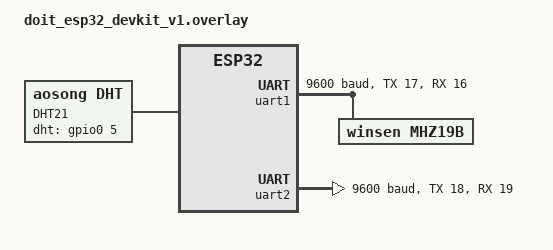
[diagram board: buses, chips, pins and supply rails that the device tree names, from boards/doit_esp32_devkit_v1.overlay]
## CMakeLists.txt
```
cmake_minimum_required(VERSION 3.20.0)
find_package(Zephyr REQUIRED HINTS $ENV{ZEPHYR_BASE})
project(weather_station)

set(INCLUDE_LIB ${CMAKE_SOURCE_DIR}/include)

include_directories(${INCLUDE_LIB})

set (SOURCES
        ${INCLUDE_LIB}/defines.h
        include/wifi.h
        src/wifi.c
        src/main.c
)

target_sources(app PRIVATE ${SOURCES})
```

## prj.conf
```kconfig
# Wi-Fi Configuration
CONFIG_WIFI=y
CONFIG_WIFI_NM=y
CONFIG_WIFI_USAGE_MODE_STA_AP=y

# Network Configuration
CONFIG_NET_CONFIG_AUTO_INIT=n
CONFIG_NET_CONNECTION_MANAGER=y
CONFIG_NET_DHCPV4=y
CONFIG_NET_DHCPV4_SERVER=y
CONFIG_NET_IF_MAX_IPV4_COUNT=2
CONFIG_NET_IF_MAX_IPV6_COUNT=2
CONFIG_NET_IPV4=y
CONFIG_NET_L2_ETHERNET=y
CONFIG_NET_L2_WIFI_MGMT=y
CONFIG_NET_MGMT=y
CONFIG_NET_MGMT_EVENT=y
CONFIG_NET_MGMT_EVENT_INFO=y
CONFIG_NET_MGMT_EVENT_QUEUE_SIZE=10
CONFIG_NET_MGMT_EVENT_STACK_SIZE=4096
CONFIG_NET_PKT_RX_COUNT=16
CONFIG_NET_PKT_TX_COUNT=16
CONFIG_NET_SOCKETS_SERVICE_STACK_SIZE=4096
CONFIG_NET_TCP=y
CONFIG_NET_UDP=y
CONFIG_NETWORKING=y

# LOG Configuration
CONFIG_NET_LOG=y
CONFIG_NET_DHCPV4_SERVER_LOG_LEVEL_DBG=y

CONFIG_FLASH=y

CONFIG_NVS=y
CONFIG_LOG=y
CONFIG_LOG_MODE_IMMEDIATE=y
CONFIG_NVS_LOG_LEVEL_DBG=y
CONFIG_REBOOT=y
CONFIG_MPU_ALLOW_FLASH_WRITE=y
CONFIG_MAIN_STACK_SIZE=2048
```

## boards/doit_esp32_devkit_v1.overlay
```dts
/delete-node/ &storage_partition;

/ {
	chosen {
		zephyr,flash-controller = &flash0;
	};
};

&flash0 {
	partitions {
		/* Set 8Kb of storage at the end of the 1Mb of flash */
		storage_partition: partition@fe000 {
			label = "storage";
			reg = <0x000fe000 DT_SIZE_K(8)>;
		};
	};
};

/ {
    dht21: dht21 {
    compatible = "aosong,dht";
    label = "DHT21";
    dht-gpios = <&gpio0 5 (GPIO_PULL_UP | GPIO_OPEN_DRAIN)>;
    dht-device-type = <DHT_TYPE_AM2301>;
    status = "okay";
    };
};



&uart1 {
    status = "okay";
    current-speed = <9600>;
    tx-pin = <17>;   /* TX ESP32 -> RX датчика MH-Z19B */
    rx-pin = <16>;   /* RX ESP32 <- TX датчика MH-Z19B */

    mhz19b {
        compatible = "winsen,mhz19b";
        label = "MHZ19B";
        /* maximum-range = <10000>; */
        /* abc-on; */
    };
};

&uart2 {
    status = "okay";
    current-speed = <9600>;
    tx-pin = <18>;
    rx-pin = <19>;
    /* Если нужен пин для управления RE/DE RS-485, можно добавить отдельный gpio */
};
```

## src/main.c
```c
/*
 * Copyright (c) 2024 Muhammad Haziq
 *
 * SPDX-License-Identifier: Apache-2.0
 */

#include <zephyr/kernel.h>
#include <zephyr/logging/log.h>
#include <zephyr/net/wifi_mgmt.h>
#include <zephyr/net/dhcpv4_server.h>

LOG_MODULE_REGISTER(MAIN);

int main(void)
{
	k_sleep(K_SECONDS(5));

	return 0;
}
```

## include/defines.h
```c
#ifndef WEATHER_DEFINES_H
#define WEATHER_DEFINES_H

#define WIFI_STACK_SIZE 500
#define WIFI_PRIORYTIY 5

#endif
```

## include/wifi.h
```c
#ifndef WEATHER_WIFI_H
#define WEATHER_WIFI_H

#include "defines.h"

#include <zephyr/drivers/flash.h>
#include <zephyr/storage/flash_map.h>
#include <zephyr/kvss/nvs.h>

#include <zephyr/kernel.h>
#include <zephyr/logging/log.h>
#include <zephyr/net/wifi_mgmt.h>
#include <zephyr/net/dhcpv4_server.h>

#include <stdio.h>
#include <string.h>

#endif
```

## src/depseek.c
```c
#include <zephyr/kernel.h>
#include <zephyr/device.h>
#include <zephyr/drivers/sensor.h>
#include <zephyr/drivers/gpio.h>
#include <zephyr/drivers/uart.h>
#include <zephyr/net/net_if.h>
#include <zephyr/net/wifi_mgmt.h>
#include <zephyr/net/http/client.h>
#include <zephyr/data/json.h>
#include <zephyr/logging/log.h>

#include <stdio.h>
#include <string.h>

LOG_MODULE_REGISTER(main, LOG_LEVEL_INF);

// === Настройки WiFi ===
#define WIFI_SSID     "YourSSID"
#define WIFI_PSK      "YourPassword"

// === Адрес локального сервера ===
#define SERVER_HOST   "192.168.1.100"   // IP вашего сервера
#define SERVER_PORT   8080               // порт
#define WEATHER_PATH   "/weather.json"    // путь к файлу с погодой

// === Пины устройств (если не заданы в overlay) ===
// Реле на GPIO4
#define RELAY_NODE DT_ALIAS(relay)       // можно задать алиас в overlay
static const struct gpio_dt_spec relay = GPIO_DT_SPEC_GET_OR(RELAY_NODE, gpios, {0});

// Датчики
static const struct device *const dht21 = DEVICE_DT_GET_ANY(dht);
static const struct device *const mhz19b = DEVICE_DT_GET_ANY(winsen_mhz19b);
static const struct device *const uart_display = DEVICE_DT_GET(DT_NODELABEL(uart2));

// === Структура для хранения данных с сервера ===
struct weather_data {
    float temp;
    float pressure;
    int humidity;
    // ... добавьте свои поля
};

// === Глобальные переменные ===
static struct weather_data current_weather;
static K_SEM_DEFINE(weather_ready_sem, 0, 1);   // семафор для сигнала о новых данных
static bool wifi_connected = false;

// === Прототипы функций ===
static void wifi_connect(void);
static void http_fetch_weather(void);
static void parse_weather_json(const char *json_str);
static void read_local_sensors(float *temp, float *hum, uint16_t *co2);
static void update_display(void);

// === Поток для периодического опроса сервера (раз в 30 минут) ===
void weather_thread(void *, void *, void *)
{
    while (1) {
        LOG_INF("Fetching weather from server...");
        http_fetch_weather();
        k_sleep(K_MINUTES(30));
    }
}

K_THREAD_DEFINE(weather_tid, 4096, weather_thread, NULL, NULL, NULL, 7, 0, 0);

// === Поток для локального опроса датчиков и вывода на дисплей (раз в минуту) ===
void sensor_thread(void *, void *, void *)
{
    while (1) {
        // Читаем локальные датчики
        float temp_local = 0, hum_local = 0;
        uint16_t co2_local = 0;
        read_local_sensors(&temp_local, &hum_local, &co2_local);

        // Если есть свежие данные с сервера, используем их, иначе пропускаем
        if (k_sem_take(&weather_ready_sem, K_NO_WAIT) == 0) {
            LOG_INF("New weather data: T=%.1f, P=%.1f, H=%d",
                    current_weather.temp, current_weather.pressure, current_weather.humidity);
        }

        // Формируем строку для отправки на индикатор
        char display_buf[128];
        snprintf(display_buf, sizeof(display_buf),
                 "Local: T=%.1f H=%.1f CO2=%d  Yandex: T=%.1f H=%d\r\n",
                 temp_local, hum_local, co2_local,
                 current_weather.temp, current_weather.humidity);

        // Отправляем в UART (RS-485)
        for (int i = 0; i < strlen(display_buf); i++) {
            uart_poll_out(uart_display, display_buf[i]);
        }

        k_sleep(K_MINUTES(1));
    }
}

K_THREAD_DEFINE(sensor_tid, 2048, sensor_thread, NULL, NULL, NULL, 5, 0, 0);

// === Инициализация ===
void main(void)
{
    LOG_INF("Weather Station starting...");

    // Инициализация реле (выключено)
    if (!device_is_ready(relay.port)) {
        LOG_ERR("Relay GPIO port not ready");
    } else {
        gpio_pin_configure_dt(&relay, GPIO_OUTPUT_INACTIVE);
        LOG_INF("Relay initialized");
    }

    // Инициализация датчиков
    if (dht21 && device_is_ready(dht21)) {
        LOG_INF("DHT21 sensor ready");
    } else {
        LOG_ERR("DHT21 sensor not ready");
    }

    if (mhz19b && device_is_ready(mhz19b)) {
        LOG_INF("MH-Z19B sensor ready");
    } else {
        LOG_ERR("MH-Z19B sensor not ready");
    }

    // Подключение к WiFi
    wifi_connect();

    // Потоки запустятся автоматически после определения
}

// === Подключение к WiFi (синхронно) ===
static void wifi_connect(void)
{
    struct net_if *iface = net_if_get_default();
    if (!iface) {
        LOG_ERR("No network interface");
        return;
    }

    struct wifi_connect_req_params params = {
        .ssid = WIFI_SSID,
        .psk = WIFI_PSK,
        .ssid_length = strlen(WIFI_SSID),
        .psk_length = strlen(WIFI_PSK),
        .channel = WIFI_CHANNEL_ANY,
        .security = WIFI_SECURITY_TYPE_PSK,
    };

    LOG_INF("Connecting to WiFi...");
    int rc = net_mgmt(NET_REQUEST_WIFI_CONNECT, iface, &params, sizeof(params));
    if (rc) {
        LOG_ERR("WiFi connection failed: %d", rc);
        return;
    }
    wifi_connected = true;
    LOG_INF("WiFi connected");
}

// === HTTP GET запрос к серверу ===
static void http_fetch_weather(void)
{
    if (!wifi_connected) {
        LOG_ERR("WiFi not connected");
        return;
    }

    struct http_request req;
    memset(&req, 0, sizeof(req));

    req.method = HTTP_GET;
    req.url = WEATHER_PATH;
    req.host = SERVER_HOST;
    req.port = SERVER_PORT;
    req.protocol = "HTTP/1.1";
    req.response = http_response_cb;  // колбэк для обработки ответа
    req.recv_buf = NULL;               // можно использовать статический буфер

    int rc = http_client_req(&req);
    if (rc < 0) {
        LOG_ERR("HTTP request failed: %d", rc);
    }
}

// === Колбэк для обработки ответа сервера ===
static void http_response_cb(struct http_response *rsp, enum http_final_call final_data, void *user_data)
{
    if (final_data == HTTP_DATA_FINAL) {
        if (rsp->http_status_code == 200) {
            LOG_INF("HTTP OK, length: %zd", rsp->content_length);
            // Здесь нужно разобрать JSON, который лежит в rsp->recv_buf или в rsp->body_fragments
            // Для простоты будем считать, что весь ответ помещается в recv_buf.
            // На практике используйте http_response_parse_body() или сохраняйте фрагменты.
            // Предположим, что ответ получен целиком:
            if (rsp->recv_buf_len > 0) {
                parse_weather_json(rsp->recv_buf);
            }
        } else {
            LOG_ERR("HTTP error: %d", rsp->http_status_code);
        }
    }
}

// === Парсинг JSON с помощью cJSON ===
static void parse_weather_json(const char *json_str)
{
    // Пример парсинга, адаптируйте под свой формат
    cJSON *root = cJSON_Parse(json_str);
    if (!root) {
        LOG_ERR("JSON parse error");
        return;
    }

    cJSON *temp = cJSON_GetObjectItem(root, "temp");
    cJSON *pressure = cJSON_GetObjectItem(root, "pressure");
    cJSON *humidity = cJSON_GetObjectItem(root, "humidity");

    if (cJSON_IsNumber(temp)) {
        current_weather.temp = temp->valuedouble;
    }
    if (cJSON_IsNumber(pressure)) {
        current_weather.pressure = pressure->valuedouble;
    }
    if (cJSON_IsNumber(humidity)) {
        current_weather.humidity = humidity->valueint;
    }

    cJSON_Delete(root);

    // Сигнализируем, что данные обновлены
    k_sem_give(&weather_ready_sem);
}

// === Чтение локальных датчиков ===
static void read_local_sensors(float *temp, float *hum, uint16_t *co2)
{
    if (dht21) {
        sensor_sample_fetch(dht21);
        struct sensor_value val;
        sensor_channel_get(dht21, SENSOR_CHAN_AMBIENT_TEMP, &val);
        *temp = sensor_value_to_double(&val);
        sensor_channel_get(dht21, SENSOR_CHAN_HUMIDITY, &val);
        *hum = sensor_value_to_double(&val);
    }

    if (mhz19b) {
        sensor_sample_fetch(mhz19b);
        struct sensor_value val;
        sensor_channel_get(mhz19b, SENSOR_CHAN_CO2, &val);
        *co2 = val.val1;  // для MH-Z19B CO2 возвращается в val1 как целое (ppm)
    }
}
```

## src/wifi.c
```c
#include "wifi.h"

LOG_MODULE_REGISTER(WIFI);


#define MACSTR "%02X:%02X:%02X:%02X:%02X:%02X"
#define WIFI_STACK_SIZE 500
#define WIFI_PRIORITY 5

static struct nvs_fs fs;

#define NVS_PARTITION		storage_partition
#define NVS_PARTITION_DEVICE	FIXED_PARTITION_DEVICE(NVS_PARTITION)
#define NVS_PARTITION_OFFSET	FIXED_PARTITION_OFFSET(NVS_PARTITION)

#define NVS_NAMESPACE_WIFI      1       // Идентификатор для наших данных
#define NVS_KEY_SSID            1       // Ключ для SSID
#define NVS_KEY_PASSWORD        2       // Ключ для пароля

#define NET_EVENT_WIFI_MASK                                                                        \
	(NET_EVENT_WIFI_CONNECT_RESULT | NET_EVENT_WIFI_DISCONNECT_RESULT |                        \
	 NET_EVENT_WIFI_AP_ENABLE_RESULT | NET_EVENT_WIFI_AP_DISABLE_RESULT |                      \
	 NET_EVENT_WIFI_AP_STA_CONNECTED | NET_EVENT_WIFI_AP_STA_DISCONNECTED)

static struct net_if *ap_iface;
static struct net_if *sta_iface;

static struct wifi_connect_req_params ap_config;
static struct wifi_connect_req_params sta_config;

static struct net_mgmt_event_callback cb;

/* Check necessary definitions */

BUILD_ASSERT(sizeof(CONFIG_WIFI_SAMPLE_AP_SSID) > 1,
	     "CONFIG_WIFI_SAMPLE_AP_SSID is empty. Please set it in conf file.");

BUILD_ASSERT(sizeof(CONFIG_WIFI_SAMPLE_SSID) > 1,
	     "CONFIG_WIFI_SAMPLE_SSID is empty. Please set it in conf file.");

#if WIFI_SAMPLE_DHCPV4_START
BUILD_ASSERT(sizeof(CONFIG_WIFI_SAMPLE_AP_IP_ADDRESS) > 1,
	     "CONFIG_WIFI_SAMPLE_AP_IP_ADDRESS is empty. Please set it in conf file.");

BUILD_ASSERT(sizeof(CONFIG_WIFI_SAMPLE_AP_NETMASK) > 1,
	     "CONFIG_WIFI_SAMPLE_AP_NETMASK is empty. Please set it in conf file.");

#endif

static void wifi_event_handler(struct net_mgmt_event_callback *cb, uint64_t mgmt_event,
			       struct net_if *iface)
{
	switch (mgmt_event) {
	case NET_EVENT_WIFI_CONNECT_RESULT: {
		LOG_INF("Connected to %s", CONFIG_WIFI_SAMPLE_SSID);
		break;
	}
	case NET_EVENT_WIFI_DISCONNECT_RESULT: {
		LOG_INF("Disconnected from %s", CONFIG_WIFI_SAMPLE_SSID);
		break;
	}
	case NET_EVENT_WIFI_AP_ENABLE_RESULT: {
		LOG_INF("AP Mode is enabled. Waiting for station to connect");
		break;
	}
	case NET_EVENT_WIFI_AP_DISABLE_RESULT: {
		LOG_INF("AP Mode is disabled.");
		break;
	}
	case NET_EVENT_WIFI_AP_STA_CONNECTED: {
		struct wifi_ap_sta_info *sta_info = (struct wifi_ap_sta_info *)cb->info;

		LOG_INF("station: " MACSTR " joined ", sta_info->mac[0], sta_info->mac[1],
			sta_info->mac[2], sta_info->mac[3], sta_info->mac[4], sta_info->mac[5]);
		break;
	}
	case NET_EVENT_WIFI_AP_STA_DISCONNECTED: {
		struct wifi_ap_sta_info *sta_info = (struct wifi_ap_sta_info *)cb->info;

		LOG_INF("station: " MACSTR " leave ", sta_info->mac[0], sta_info->mac[1],
			sta_info->mac[2], sta_info->mac[3], sta_info->mac[4], sta_info->mac[5]);
		break;
	}
	default:
		break;
	}
}

#if CONFIG_WIFI_SAMPLE_DHCPV4_START
static void enable_dhcpv4_server(void)
{
	static struct net_in_addr addr;
	static struct net_in_addr netmaskAddr;

	if (net_addr_pton(NET_AF_INET, CONFIG_WIFI_SAMPLE_AP_IP_ADDRESS, &addr)) {
		LOG_ERR("Invalid address: %s", CONFIG_WIFI_SAMPLE_AP_IP_ADDRESS);
		return;
	}

	if (net_addr_pton(NET_AF_INET, CONFIG_WIFI_SAMPLE_AP_NETMASK, &netmaskAddr)) {
		LOG_ERR("Invalid netmask: %s", CONFIG_WIFI_SAMPLE_AP_NETMASK);
		return;
	}

	net_if_ipv4_set_gw(ap_iface, &addr);

	if (net_if_ipv4_addr_add(ap_iface, &addr, NET_ADDR_MANUAL, 0) == NULL) {
		LOG_ERR("unable to set IP address for AP interface");
	}

	if (!net_if_ipv4_set_netmask_by_addr(ap_iface, &addr, &netmaskAddr)) {
		LOG_ERR("Unable to set netmask for AP interface: %s",
			 CONFIG_WIFI_SAMPLE_AP_NETMASK);
	}

	addr.s4_addr[3] += 10; /* Starting IPv4 address for DHCPv4 address pool. */

	if (net_dhcpv4_server_start(ap_iface, &addr) != 0) {
		LOG_ERR("DHCP server is not started for desired IP");
		return;
	}

	LOG_INF("DHCPv4 server started...\n");
}
#endif

int enable_ap_mode(void)
{
	if (!ap_iface) {
		LOG_INF("AP: is not initialized");
		return -EIO;
	}

	LOG_INF("Turning on AP Mode");
	ap_config.ssid = (const uint8_t *)CONFIG_WIFI_SAMPLE_AP_SSID;
	ap_config.ssid_length = sizeof(CONFIG_WIFI_SAMPLE_AP_SSID) - 1;
	ap_config.psk = (const uint8_t *)CONFIG_WIFI_SAMPLE_AP_PSK;
	ap_config.psk_length = sizeof(CONFIG_WIFI_SAMPLE_AP_PSK) - 1;
	ap_config.channel = WIFI_CHANNEL_ANY;
	ap_config.band = WIFI_FREQ_BAND_2_4_GHZ;

	if (sizeof(CONFIG_WIFI_SAMPLE_AP_PSK) == 1) {
		ap_config.security = WIFI_SECURITY_TYPE_NONE;
	} else {

		ap_config.security = WIFI_SECURITY_TYPE_PSK;
	}

#if CONFIG_WIFI_SAMPLE_DHCPV4_START
	enable_dhcpv4_server();
#endif

	int ret = net_mgmt(NET_REQUEST_WIFI_AP_ENABLE, ap_iface, &ap_config,
			   sizeof(struct wifi_connect_req_params));
	if (ret) {
		LOG_ERR("NET_REQUEST_WIFI_AP_ENABLE failed, err: %d", ret);
	}

	return ret;
}

int connect_to_wifi(char *ssid, char* password)
{
	if (!sta_iface) {
		LOG_INF("STA: interface no initialized");
		return -EIO;
	}

	sta_config.ssid = (const uint8_t *)(ssid);
	sta_config.ssid_length = strlen(ssid);
	sta_config.psk = (const uint8_t *)(password);
	sta_config.psk_length = strlen(password);
	sta_config.security = WIFI_SECURITY_TYPE_PSK;
	sta_config.channel = WIFI_CHANNEL_ANY;
	sta_config.band = WIFI_FREQ_BAND_2_4_GHZ;

	LOG_INF("Connecting to SSID: %s\n", sta_config.ssid);

	int ret = net_mgmt(NET_REQUEST_WIFI_CONNECT, sta_iface, &sta_config,
			   sizeof(struct wifi_connect_req_params));
	if (ret) {
		LOG_ERR("Unable to Connect to (%s)", CONFIG_WIFI_SAMPLE_SSID);
	}

	return ret;
}


static int storage_init(void) {
    int rc = 0;
    struct flash_pages_info info;
    fs.flash_device = NVS_PARTITION_DEVICE;
	if (!device_is_ready(fs.flash_device)) {
		LOG_ERR("Flash device %s is not ready\n", fs.flash_device->name);
		return -1;
	}
	fs.offset = NVS_PARTITION_OFFSET;
	rc = flash_get_page_info_by_offs(fs.flash_device, fs.offset, &info);
	if (rc) {
		LOG_ERR("Unable to get page info, rc=%d\n", rc);
		return -1;
	}
	fs.sector_size = info.size;
	fs.sector_count = 3U;

	rc = nvs_mount(&fs);
	if (rc) {
		LOG_ERR("Flash Init failed, rc=%d\n", rc);
		return -1;
	}
    return 0;
}

// Сохранить SSID и пароль
void save_wifi_creds(const char *ssid, const char *password) {
    nvs_write(&fs, NVS_KEY_SSID, (void*)ssid, strlen(ssid) + 1);
    nvs_write(&fs, NVS_KEY_PASSWORD, (void*)password, strlen(password) + 1);
}

// Загрузить SSID и пароль (возвращает true, если найдены)
bool load_wifi_creds(char *ssid_buf, size_t ssid_len,
                     char *pass_buf, size_t pass_len) {
    ssize_t rc1 = nvs_read(&fs, NVS_KEY_SSID, ssid_buf, ssid_len);
    ssize_t rc2 = nvs_read(&fs, NVS_KEY_PASSWORD, pass_buf, pass_len);
    if (rc1 > 0) {
        LOG_INF("NVS: Read SSID: %s", ssid_buf);
    }
    return (rc1 > 0 && rc2 > 0);
}

void wifi_routine(void *, void *, void *){
    int rc;
    rc = storage_init();
    if (rc){
        LOG_ERR("NVS Storage fail");
    }
    char ssid[20];
    char password[20];
    rc = load_wifi_creds(ssid, sizeof(ssid), password, sizeof(password));
    if (!rc)
    {
        LOG_ERR("read Storage fail");
        strncpy(ssid, CONFIG_WIFI_SAMPLE_SSID, sizeof(ssid));
        strncpy(password, CONFIG_WIFI_SAMPLE_PSK, sizeof(password));
        save_wifi_creds(ssid, password);
    }

    LOG_INF("WiFi Thread Started");
    net_mgmt_init_event_callback(&cb, wifi_event_handler, NET_EVENT_WIFI_MASK);
	net_mgmt_add_event_callback(&cb);

	/* Get AP interface in AP-STA mode. */
	ap_iface = net_if_get_wifi_sap();

	/* Get STA interface in AP-STA mode. */
	sta_iface = net_if_get_wifi_sta();

	//enable_ap_mode();
	connect_to_wifi(ssid, password);

    while(1) {
        k_sleep(K_SECONDS(10));
    	LOG_INF("WiFi Thread Works");
    }
}


K_THREAD_DEFINE(weather_tid, WIFI_STACK_SIZE,
                wifi_routine, NULL, NULL, NULL,
                WIFI_PRIORITY, 0, 0);
```
